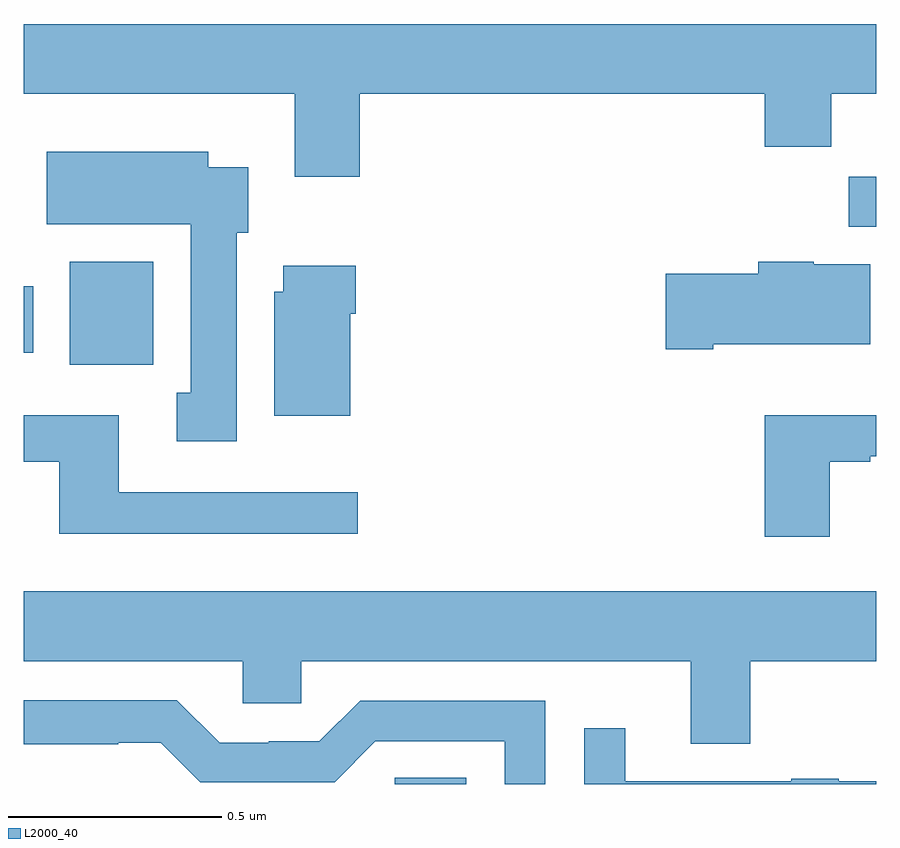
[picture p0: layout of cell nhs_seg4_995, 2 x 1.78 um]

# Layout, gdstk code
import gdstk
lib = gdstk.Library(unit=1e-6, precision=1e-09)
def R(c, l, rs):  # rectangles x0, y0, x1, y1
    for r in rs: c.add(gdstk.rectangle(r[:2], r[2:], *l))
def P(c, l, *ps):  # polygons
    for p in ps: c.add(gdstk.Polygon(p, *l))
L2000_40 = (2000, 40)

nhs_seg4_995 = lib.new_cell('nhs_seg4_995')
R(nhs_seg4_995, L2000_40, [(123.87,761.9,124.038,761.915), (123.107,762.884,123.304,763.126), (123,762.912,123.022,763.068), (124.936,763.208,125,763.326)])
P(nhs_seg4_995, L2000_40, [(123.788,763.52),(124.739,763.52),(124.739,763.396),(124.895,763.396),(124.895,763.52),(125,763.52),(125,763.684),(123,763.684),(123,763.52),(123.635,763.52),(123.635,763.326),(123.788,763.326)],
  [(123.499,763.194),(123.526,763.194),(123.526,763.348),(123.433,763.348),(123.433,763.384),(123.053,763.384),(123.053,763.214),(123.392,763.214),(123.392,762.818),(123.359,762.818),(123.359,762.705),(123.499,762.705)],
  [(124.618,762.932),(124.987,762.932),(124.987,763.12),(124.854,763.12),(124.854,763.126),(124.724,763.126),(124.724,763.098),(124.506,763.098),(124.506,762.92),(124.618,762.92)],
  [(123.766,763.004),(123.779,763.004),(123.779,763.117),(123.608,763.117),(123.608,763.056),(123.587,763.056),(123.587,762.764),(123.766,762.764)],
  [(124.891,762.657),(124.987,762.657),(124.987,762.669),(125,762.669),(125,762.766),(124.739,762.766),(124.739,762.48),(124.891,762.48)],
  [(123.784,762.585),(123.223,762.585),(123.223,762.766),(123,762.766),(123,762.657),(123.083,762.657),(123.083,762.488),(123.784,762.488)],
  [(124.705,762.188),(125,762.188),(125,762.352),(123,762.352),(123,762.188),(123.513,762.188),(123.513,762.09),(123.651,762.09),(123.651,762.188),(124.565,762.188),(124.565,761.994),(124.705,761.994)],
  [(124.224,762.096),(123.789,762.096),(123.693,762),(123.575,762),(123.575,761.997),(123.459,761.997),(123.359,762.097),(123,762.097),(123,761.993),(123.221,761.993),(123.221,761.997),(123.321,761.997),(123.414,761.904),(123.729,761.904),(123.825,762),(124.128,762),(124.128,761.9),(124.224,761.9)],
  [(125,761.907),(124.913,761.907),(124.913,761.912),(124.801,761.912),(124.801,761.907),(124.411,761.907),(124.411,762.031),(124.315,762.031),(124.315,761.9),(125,761.9)])

lib.write_gds('nhs_seg4_995.gds')
